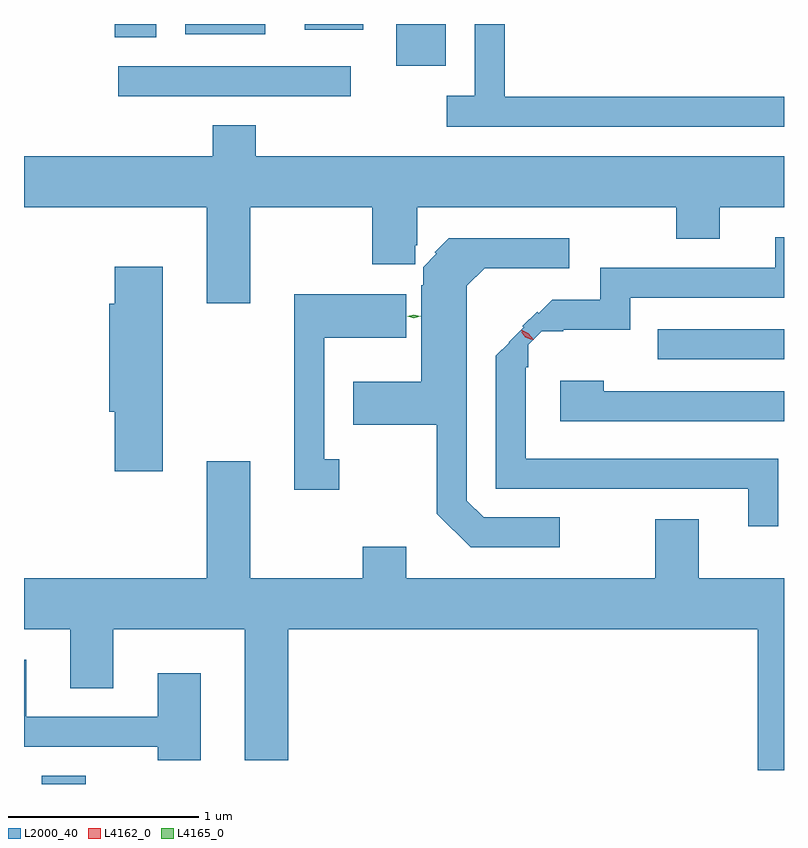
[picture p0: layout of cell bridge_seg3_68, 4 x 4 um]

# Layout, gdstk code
import gdstk
lib = gdstk.Library(unit=1e-6, precision=1e-09)
def R(c, l, rs):  # rectangles x0, y0, x1, y1
    for r in rs: c.add(gdstk.rectangle(r[:2], r[2:], *l))
def P(c, l, *ps):  # polygons
    for p in ps: c.add(gdstk.Polygon(p, *l))
L2000_40 = (2000, 40)
L4162_0 = (4162, 0)
L4165_0 = (4165, 0)

bridge_seg3_68 = lib.new_cell('bridge_seg3_68')
R(bridge_seg3_68, L2000_40, [(1137.691,1180.701,1137.924,1180.744), (1140.933,1182.936,1141.598,1183.094), (1138.093,1184.321,1139.318,1184.479), (1139.556,1184.481,1139.819,1184.701), (1138.076,1184.631,1138.294,1184.701), (1138.446,1184.646,1138.869,1184.701), (1139.076,1184.671,1139.384,1184.701)])
P(bridge_seg3_68, L2000_40, [(1141.598,1184.319),(1140.129,1184.319),(1140.129,1184.701),(1139.971,1184.701),(1139.971,1184.324),(1139.823,1184.324),(1139.823,1184.161),(1141.598,1184.161)],
  [(1138.789,1183.736),(1139.431,1183.736),(1139.431,1183.437),(1139.657,1183.437),(1139.657,1183.537),(1139.667,1183.537),(1139.667,1183.736),(1141.031,1183.736),(1141.031,1183.571),(1141.259,1183.571),(1141.259,1183.736),(1141.598,1183.736),(1141.598,1184.004),(1138.819,1184.004),(1138.819,1184.169),(1138.591,1184.169),(1138.591,1184.004),(1137.598,1184.004),(1137.598,1183.736),(1138.561,1183.736),(1138.561,1183.231),(1138.789,1183.231)],
  [(1141.569,1182.414),(1140.239,1182.414),(1140.239,1182.895),(1140.253,1182.895),(1140.253,1183.013),(1140.324,1183.084),(1140.435,1183.084),(1140.435,1183.091),(1140.789,1183.091),(1140.789,1183.261),(1141.598,1183.261),(1141.598,1183.579),(1141.551,1183.579),(1141.551,1183.419),(1140.631,1183.419),(1140.631,1183.249),(1140.378,1183.249),(1140.307,1183.179),(1140.299,1183.187),(1140.221,1183.109),(1140.227,1183.104),(1140.149,1183.026),(1140.151,1183.024),(1140.081,1182.955),(1140.081,1182.256),(1141.411,1182.256),(1141.411,1182.058),(1141.569,1182.058)],
  [(1140.418,1182.104),(1140.017,1182.104),(1139.929,1182.192),(1139.929,1183.324),(1140.022,1183.416),(1140.468,1183.416),(1140.468,1183.574),(1139.834,1183.574),(1139.76,1183.5),(1139.769,1183.491),(1139.698,1183.42),(1139.698,1183.326),(1139.69,1183.326),(1139.69,1182.819),(1139.331,1182.819),(1139.331,1182.591),(1139.771,1182.591),(1139.771,1182.124),(1139.949,1181.946),(1140.418,1181.946)],
  [(1138.329,1183.424),(1138.076,1183.424),(1138.076,1183.229),(1138.046,1183.229),(1138.046,1182.661),(1138.076,1182.661),(1138.076,1182.346),(1138.329,1182.346)],
  [(1139.258,1182.409),(1139.179,1182.409),(1139.179,1183.051),(1139.61,1183.051),(1139.61,1183.279),(1139.021,1183.279),(1139.021,1182.251),(1139.258,1182.251)],
  [(1141.598,1182.769),(1140.649,1182.769),(1140.649,1182.824),(1140.421,1182.824),(1140.421,1182.611),(1141.598,1182.611)],
  [(1141.598,1181.784),(1141.149,1181.784),(1141.149,1182.094),(1140.921,1182.094),(1140.921,1181.784),(1139.609,1181.784),(1139.609,1181.949),(1139.381,1181.949),(1139.381,1181.784),(1138.789,1181.784),(1138.789,1182.399),(1138.561,1182.399),(1138.561,1181.784),(1137.598,1181.784),(1137.598,1181.516),(1137.841,1181.516),(1137.841,1181.206),(1138.069,1181.206),(1138.069,1181.516),(1138.761,1181.516),(1138.761,1180.826),(1138.989,1180.826),(1138.989,1181.516),(1141.461,1181.516),(1141.461,1180.773),(1141.598,1180.773)],
  [(1138.529,1181.284),(1138.301,1181.284),(1138.301,1181.054),(1137.609,1181.054),(1137.609,1181.354),(1137.598,1181.354),(1137.598,1180.896),(1138.301,1180.896),(1138.301,1180.826),(1138.529,1180.826)])
P(bridge_seg3_68, L4162_0, [(1140.279,1183.039),(1140.241,1183.057),(1140.214,1183.09),(1140.214,1183.091),(1140.215,1183.091),(1140.253,1183.073),(1140.28,1183.04),(1140.28,1183.039)],
  [(1140.27,1183.04),(1140.237,1183.053),(1140.216,1183.081),(1140.216,1183.082),(1140.216,1183.082),(1140.25,1183.068),(1140.271,1183.04),(1140.271,1183.04)])
P(bridge_seg3_68, L4165_0, [(1139.65,1183.152),(1139.616,1183.162),(1139.615,1183.162),(1139.616,1183.163),(1139.65,1183.172),(1139.685,1183.163),(1139.686,1183.162),(1139.685,1183.162)],
  [(1139.65,1183.152),(1139.618,1183.162),(1139.617,1183.162),(1139.618,1183.163),(1139.65,1183.172),(1139.683,1183.163),(1139.684,1183.162),(1139.683,1183.162)])

lib.write_gds('bridge_seg3_68.gds')
